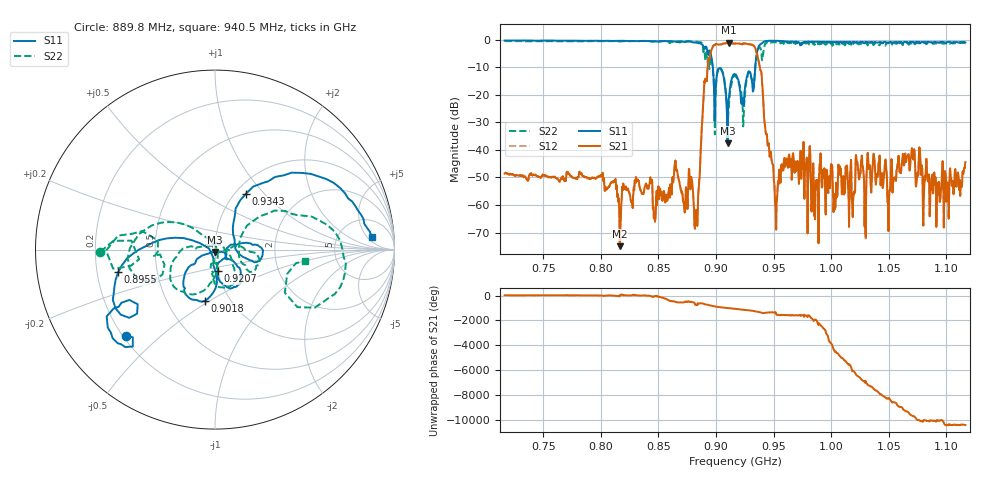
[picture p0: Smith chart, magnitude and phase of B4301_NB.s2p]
! Matrix data file written by TouchstoneData, EPCOS AG
! FILENAME: "PLI.LY35A_NB.snp"
! COMMENT: "(LY35A_6_NB.s2p) EPCOS AG 19.03.2010 16:51:4"
! INFO: nport=2, nfreq=1601
! DATE: "Mon Jul 12 09:51:15 2010"
! USER: "Michael Schemies"
! port | pin | signal
!  1  |  1  |  in
!  2  |  4  |  out
# MHZ S MA R 50
! freq  magS11 angS11  magS21 angS21  magS12 angS12  magS22 angS22
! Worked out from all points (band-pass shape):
!   1601 points, 716.5 MHz to 1.117 GHz, reference 50 ohm
!   highest |S21| = -1.07 dB at 911.5 MHz (marker M1); lowest = -75.0 dB at 816.5 MHz (marker M2)
!   |S21| within 3 dB of the highest: 895.8 MHz to 934.8 MHz (39.01 MHz wide, 4.26 % of centre)
!   lowest |S11| = -37.5 dB at 910 MHz (marker M3), VSWR 1.03, Z = 50 - j1.33 ohm
!   |S11| at or under -10 dB: 897.3 MHz to 934 MHz (36.79 MHz wide, 4.02 % of centre)
!   |S22| runs from -34.3 to -0.4 dB; largest |S21 - S12| = 0.0016
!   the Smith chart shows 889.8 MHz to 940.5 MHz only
!   S11 on the Smith chart (normalised r, x): 889.8 MHz: 0.21, -0.39; 895.5 MHz: 0.29, -0.11; 901.8 MHz: 0.77, -0.48; 920.8 MHz: 1.00, -0.25; 934.2 MHz: 1.12, +0.80; 940.5 MHz: 11, +7
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716.5  0.9729 -60.8  0.003736 24.8  0.003738 24.6  0.9475 -80.9
783.25  0.9623 -69.1  0.003752 10.4  0.003772 10.0  0.9395 -90.4
816.5  0.9584 -74.8  0.0001788 -26.8  0.0001788 -41.1  0.9354 -96.7
850  0.9401 -83.6  0.002177 -91.1  0.002191 -91.7  0.903 -107.1
865.5  0.918 -94.0  0.004239 -175.6  0.004225 -175.1  0.9323 -114.1
882.75  0.8908 -114.0  0.0008159 -43.7  0.0008032 -43.2  0.9277 -143.2
889.75  0.689 -136.0  0.1599 44.7  0.1599 44.8  0.6396 -178.9
895.5  0.5538 -166.8  0.603 -86.0  0.6031 -86.1  0.4888 -174.5
901.75  0.2895 -100.9  0.8231 161.2  0.8232 161.2  0.2798 -116.6
910  0.01327 -89.0  0.877 73.3  0.8763 73.4  0.03715 144.6
911.5  0.09728 -34.0  0.884 59.5  0.8834 59.5  0.07678 -16.2
916.5  0.2329 -62.9  0.8519 14.8  0.8521 14.9  0.2183 -76.0
920.75  0.1218 -83.0  0.846 -24.1  0.8454 -24.1  0.1491 -94.0
928  0.2584 2.3  0.8338 -96.4  0.8328 -96.3  0.2513 -11.6
934.25  0.3568 61.0  0.6882 167.9  0.6874 168.0  0.3533 34.5
940.5  0.8786 4.4  0.1217 31.7  0.1219 31.7  0.5035 -7.0
952.25  0.961 -31.1  0.0003604 -57.2  0.0003551 -57.7  0.9046 -48.1
961.5  0.9227 -42.4  0.006995 -139.7  0.00702 -139.9  0.8847 -58.6
983.25  0.9224 -51.3  0.001059 -49.8  0.001037 -50.0  0.8888 -72.0
1050  0.8929 -63.0  0.001014 46.7  0.001001 46.4  0.8786 -84.4
1070.75  0.9208 -66.7  0.008113 28.0  0.008084 27.9  0.8898 -85.7
1116.5  0.8972 -71.2  0.006004 25.8  0.005991 25.5  0.8666 -90.5
